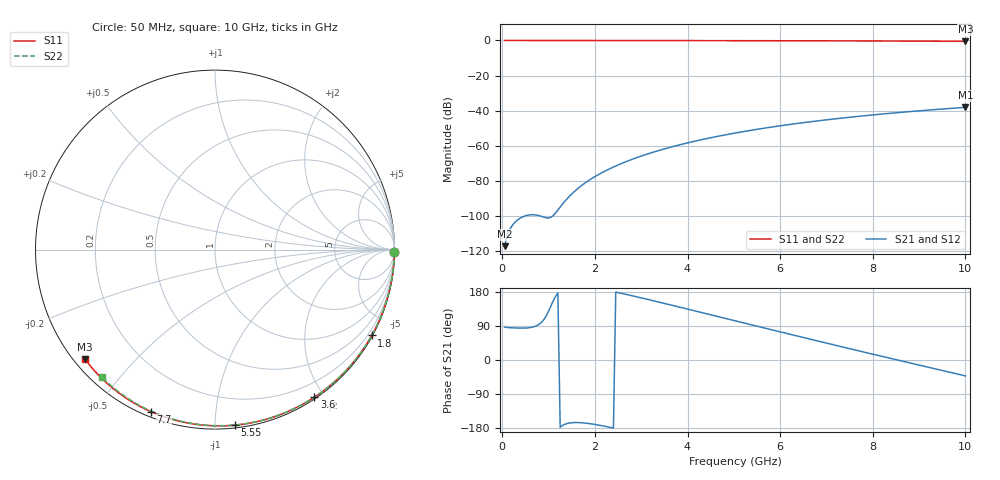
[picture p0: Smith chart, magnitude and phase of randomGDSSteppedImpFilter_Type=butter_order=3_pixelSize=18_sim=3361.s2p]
! freq	dB(S11)	phase(S11)	dB(S12)	phase(S12)
!  dB(S21)	phase(S21)	dB(S22)	phase(S22)
!S-par simulation data
#  GHz  S  DB  R 50
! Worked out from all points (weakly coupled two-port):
!   200 points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, 50 MHz to 10 GHz, reference 50 ohm
!   highest |S21| = -38.07 dB at 10 GHz (marker M1); lowest = -117.1 dB at 50 MHz (marker M2)
!   lowest |S11| = -0.5 dB at 10 GHz (marker M3), VSWR 36.60, Z = 1.55 - j18.2 ohm
!   |S11| at or under -10 dB: nowhere
!   |S22| runs from -0.4 to 0.0 dB; largest |S21 - S12| = 0
!   S11 on the Smith chart (normalised r, x): 50 MHz: open; 1.8 GHz: 0.03, -3.91; 3.6 GHz: 0.02, -1.88; 5.55 GHz: 0.02, -1.12; 7.7 GHz: 0.02, -0.68; 10 GHz: 0.03, -0.36
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0.05  -0.00 -0.8  -117.09 87.0  -117.09 87.0  -0.00 -0.8
0.45  -0.01 -7.3  -100.28 84.1  -100.28 84.1  -0.01 -6.8
0.9  -0.02 -14.5  -100.62 107.0  -100.62 107.0  -0.02 -13.6
1.75  -0.04 -27.9  -81.83 -166.0  -81.83 -166.0  -0.03 -26.2
1.8  -0.04 -28.7  -80.89 -166.6  -80.89 -166.6  -0.03 -26.9
1.85  -0.04 -29.5  -79.99 -167.4  -79.99 -167.4  -0.04 -27.7
2  -0.04 -31.8  -77.51 -170.1  -77.51 -170.1  -0.04 -29.9
2.15  -0.04 -34.1  -75.28 -173.4  -75.28 -173.4  -0.04 -32.1
2.35  -0.05 -37.2  -72.64 -178.2  -72.64 -178.2  -0.04 -35.0
2.55  -0.05 -40.3  -70.30 176.5  -70.30 176.5  -0.05 -37.8
2.95  -0.06 -46.3  -66.26 165.4  -66.26 165.4  -0.06 -43.6
3.4  -0.07 -53.1  -62.47 152.3  -62.47 152.3  -0.07 -49.9
3.6  -0.08 -56.0  -60.98 146.3  -60.98 146.3  -0.07 -52.7
4.3  -0.09 -66.2  -56.48 125.4  -56.48 125.4  -0.09 -62.3
5.05  -0.12 -76.7  -52.58 102.8  -52.58 102.8  -0.11 -72.2
5.55  -0.14 -83.6  -50.36 87.7  -50.36 87.7  -0.13 -78.7
6.1  -0.16 -90.9  -48.20 71.3  -48.20 71.3  -0.15 -85.6
6.7  -0.19 -98.8  -46.12 53.4  -46.12 53.4  -0.18 -93.1
7.7  -0.26 -111.5  -43.17 24.1  -43.17 24.1  -0.24 -105.1
8.35  -0.31 -119.6  -41.52 5.2  -41.52 5.2  -0.29 -112.7
9.2  -0.39 -130.1  -39.63 -19.2  -39.63 -19.2  -0.36 -122.4
10  -0.47 -139.9  -38.07 -42.0  -38.07 -42.0  -0.44 -131.5
